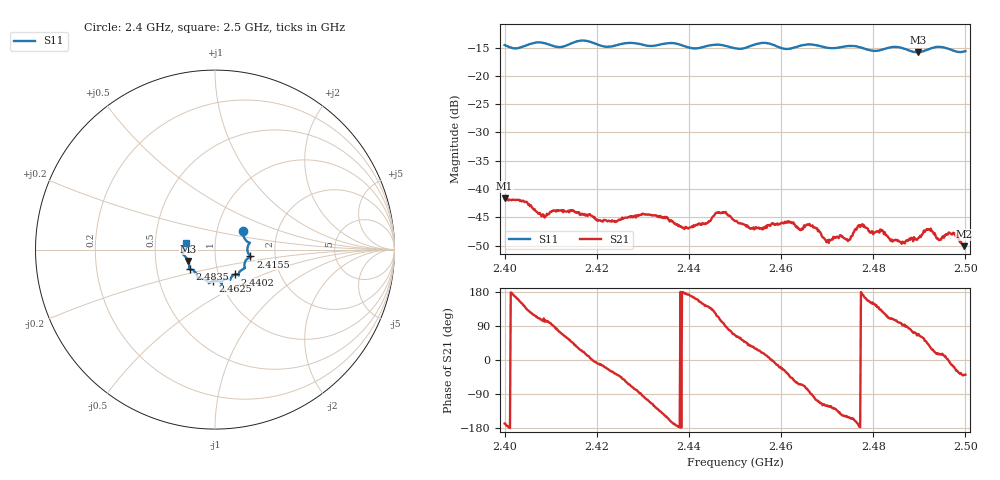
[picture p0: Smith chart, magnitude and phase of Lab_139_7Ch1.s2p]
# Hz S RI R 50
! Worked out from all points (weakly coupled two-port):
!   601 points, 2.4 GHz to 2.5 GHz, reference 50 ohm
!   highest |S21| = -41.67 dB at 2.4 GHz (marker M1); lowest = -50.1 dB at 2.4997 GHz (marker M2)
!   lowest |S11| = -15.8 dB at 2.4897 GHz (marker M3), VSWR 1.39, Z = 36.8 - j4.8 ohm
!   |S11| at or under -10 dB: start of sweep to end of sweep
!   S12 and S22 are empty: the file has one direction only
!   S11 on the Smith chart (normalised r, x): 2.4 GHz: 1.33, +0.29; 2.4155 GHz: 1.49, -0.12; 2.4402 GHz: 1.20, -0.34; 2.4625 GHz: 0.92, -0.33; 2.4835 GHz: 0.74, -0.17; 2.5 GHz: 0.72, +0.06
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2.4e9  0.1557 0.1045  -0.00806 -0.00176  0 0  0 0
2.4085e9  0.1925 0.0353  -0.00199 0.00551  0 0  0 0
2.4155e9  0.1975 -0.0379  0.00501 0.00373  0 0  0 0
2.416667e9  0.2014 -0.0421  0.00542 0.00258  0 0  0 0
2.433333e9  0.1321 -0.1338  -0.00376 -0.0044  0 0  0 0
2.440167e9  0.1112 -0.1384  -0.00451 0.000728  0 0  0 0
2.446333e9  0.0846 -0.169  -0.00252 0.00562  0 0  0 0
2.45e9  0.0642 -0.1635  0.00217 0.00473  0 0  0 0
2.453667e9  0.0372 -0.1821  0.00363 0.00264  0 0  0 0
2.4625e9  -0.0114 -0.176  0.00331 -0.00371  0 0  0 0
2.466667e9  -0.0343 -0.1867  -5.03e-05 -0.00472  0 0  0 0
2.470167e9  -0.0505 -0.17  -0.0019 -0.003  0 0  0 0
2.4745e9  -0.0895 -0.1607  -0.003 -0.00173  0 0  0 0
2.477167e9  -0.0971 -0.1509  -0.0046 -0.000217  0 0  0 0
2.483333e9  -0.1394 -0.1099  -0.00137 0.00343  0 0  0 0
2.4835e9  -0.1404 -0.1097  -0.00123 0.00344  0 0  0 0
2.489667e9  -0.1488 -0.0635  0.00133 0.00339  0 0  0 0
2.492e9  -0.1685 -0.0357  0.00335 0.00286  0 0  0 0
2.494167e9  -0.1795 -0.0226  0.00341 0.00104  0 0  0 0
2.497833e9  -0.1651 0.00488  0.00354 -0.00155  0 0  0 0
2.499667e9  -0.1606 0.0338  0.00242 -0.00197  0 0  0 0
2.5e9  -0.161 0.0393  0.00247 -0.00198  0 0  0 0
